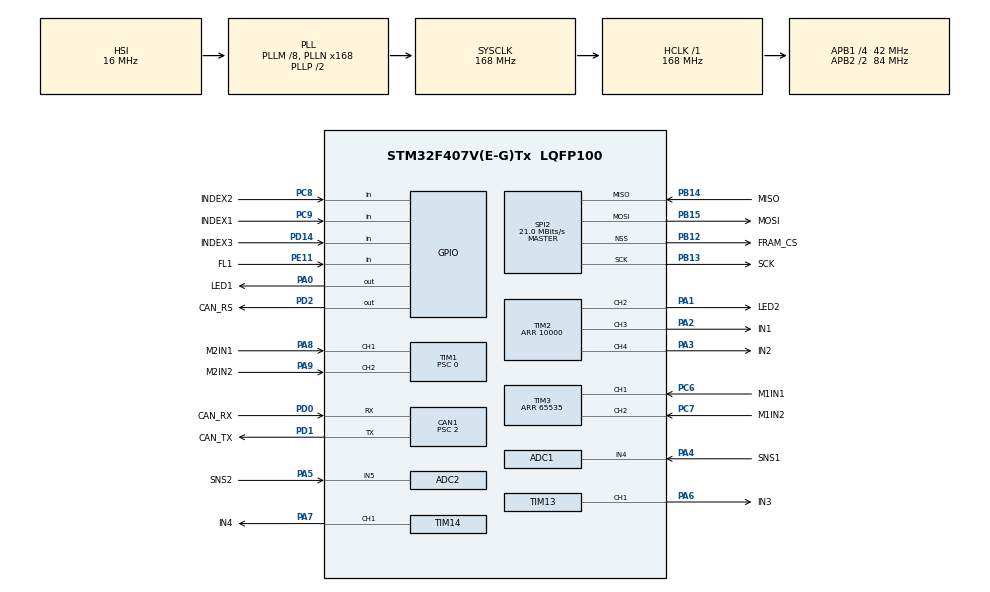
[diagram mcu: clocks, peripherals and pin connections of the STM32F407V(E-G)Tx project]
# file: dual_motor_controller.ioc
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ADC1.Channel-0\#ChannelRegularConversion=ADC_CHANNEL_4
ADC1.ClockPrescaler=ADC_CLOCK_SYNC_PCLK_DIV8
ADC1.ContinuousConvMode=ENABLE
ADC1.EOCSelection=ADC_EOC_SEQ_CONV
ADC1.NbrOfConversionFlag=1
ADC1.Rank-0\#ChannelRegularConversion=1
ADC1.SamplingTime-0\#ChannelRegularConversion=ADC_SAMPLETIME_3CYCLES
ADC1.ScanConvMode=ENABLE
ADC1.master=1
ADC2.Channel-1\#ChannelRegularConversion=ADC_CHANNEL_5
ADC2.ClockPrescaler=ADC_CLOCK_SYNC_PCLK_DIV8
ADC2.ContinuousConvMode=ENABLE
ADC2.EOCSelection=ADC_EOC_SEQ_CONV
ADC2.NbrOfConversionFlag=1
ADC2.Rank-1\#ChannelRegularConversion=1
ADC2.SamplingTime-1\#ChannelRegularConversion=ADC_SAMPLETIME_3CYCLES
CAN1.BS1=CAN_BS1_13TQ
CAN1.BS2=CAN_BS2_7TQ
CAN1.CalculateTimeQuantum=47.61904761904762
CAN1.Mode=CAN_MODE_NORMAL
CAN1.Prescaler=2
FREERTOS.INCLUDE_vTaskDelayUntil=1
FREERTOS.Tasks01=canbus_task,0,1024,start_canbus_task,Default,NULL,Dynamic,NULL,NULL;motor_task,2,2048,start_motor_task,Default,NULL,Dynamic,NULL,NULL
FREERTOS.configENABLE_FPU=1
FREERTOS.configMINIMAL_STACK_SIZE=256
FREERTOS.configTOTAL_HEAP_SIZE=50000
FREERTOS.configUSE_TIMERS=1
Mcu.Family=STM32F4
Mcu.Name=STM32F407V(E-G)Tx
Mcu.Package=LQFP100
Mcu.UserConstants=configUSE_QUEUE_SETS,1;USE_HAL_CAN_REGISTER_CALLBACKS,1
NVIC.ADC_IRQn=true\:5\:0\:false\:false\:true\:true\:true\:true
NVIC.CAN1_RX0_IRQn=true\:5\:0\:false\:false\:true\:true\:true\:true
NVIC.CAN1_RX1_IRQn=true\:5\:0\:false\:false\:true\:true\:true\:true
NVIC.CAN1_TX_IRQn=true\:5\:0\:false\:false\:true\:true\:true\:true
NVIC.PriorityGroup=NVIC_PRIORITYGROUP_4
NVIC.SPI2_IRQn=true\:5\:0\:false\:false\:true\:true\:true\:true
NVIC.TIM1_BRK_TIM9_IRQn=true\:5\:0\:false\:false\:true\:true\:true\:true
NVIC.TIM4_IRQn=true\:5\:0\:false\:false\:true\:true\:true\:true
NVIC.TIM8_UP_TIM13_IRQn=true\:0\:0\:false\:false\:true\:false\:false\:true
NVIC.TimeBase=TIM8_UP_TIM13_IRQn
NVIC.TimeBaseIP=TIM8
PA0-WKUP.GPIO_Label=LED1
PA0-WKUP.GPIO_Speed=GPIO_SPEED_FREQ_HIGH
PA0-WKUP.Signal=GPIO_Output
PA1.GPIO_Label=LED2
PA1.Signal=S_TIM2_CH2
PA13.Signal=SYS_JTMS-SWDIO
PA14.Signal=SYS_JTCK-SWCLK
PA2.GPIO_Label=IN1
PA2.Signal=S_TIM2_CH3
PA3.GPIO_Label=IN2
PA3.Signal=S_TIM2_CH4
PA4.GPIO_Label=SNS1
PA4.Signal=ADCx_IN4
PA5.GPIO_Label=SNS2
PA5.Signal=ADCx_IN5
PA6.GPIO_Label=IN3
PA6.Signal=S_TIM13_CH1
PA7.GPIO_Label=IN4
PA7.Signal=S_TIM14_CH1
PA8.GPIO_Label=M2IN1
PA8.GPIO_ModeDefaultPP=GPIO_MODE_AF_OD
PA8.GPIO_PuPd=GPIO_PULLUP
PA8.Signal=S_TIM1_CH1
PA9.GPIO_Label=M2IN2
PA9.GPIO_ModeDefaultPP=GPIO_MODE_AF_OD
PA9.GPIO_PuPd=GPIO_PULLUP
PA9.Signal=S_TIM1_CH2
PB12.GPIO_Label=FRAM_CS
PB12.Mode=NSS_Signal_Hard_Output
PB12.Signal=SPI2_NSS
PB13.GPIO_Label=SCK
PB13.Mode=Full_Duplex_Master
PB13.Signal=SPI2_SCK
PB14.GPIO_Label=MISO
PB14.Mode=Full_Duplex_Master
PB14.Signal=SPI2_MISO
PB15.GPIO_Label=MOSI
PB15.Mode=Full_Duplex_Master
PB15.Signal=SPI2_MOSI
PC6.GPIO_Label=M1IN1
PC6.GPIO_ModeDefaultPP=GPIO_MODE_AF_OD
PC6.GPIO_PuPd=GPIO_PULLUP
PC6.Signal=S_TIM3_CH1
PC7.GPIO_Label=M1IN2
PC7.GPIO_ModeDefaultPP=GPIO_MODE_AF_OD
PC7.GPIO_PuPd=GPIO_PULLUP
PC7.Signal=S_TIM3_CH2
PC8.GPIO_Label=INDEX2
PC8.GPIO_PuPd=GPIO_PULLUP
PC8.Signal=GPIO_Input
PC9.GPIO_Label=INDEX1
PC9.GPIO_PuPd=GPIO_PULLUP
PC9.Signal=GPIO_Input
PD0.GPIO_Label=CAN_RX
PD0.Mode=Master
PD0.Signal=CAN1_RX
PD1.GPIO_Label=CAN_TX
PD1.Mode=Master
PD1.Signal=CAN1_TX
PD14.GPIO_Label=INDEX3
PD14.GPIO_PuPd=GPIO_PULLUP
PD14.Signal=GPIO_Input
PD2.GPIO_Label=CAN_RS
PD2.Signal=GPIO_Output
PE11.GPIO_Label=FL1
PE11.GPIO_PuPd=GPIO_PULLUP
PE11.Signal=GPIO_Input
ProjectManager.HeapSize=0x200
ProjectManager.StackSize=0x400
ProjectManager.TargetToolchain=STM32CubeIDE
RCC.48MHZClocksFreq_Value=84000000
RCC.AHBFreq_Value=168000000
RCC.APB1CLKDivider=RCC_HCLK_DIV4
RCC.APB1Freq_Value=42000000
RCC.APB1TimFreq_Value=84000000
RCC.APB2CLKDivider=RCC_HCLK_DIV2
RCC.APB2Freq_Value=84000000
RCC.APB2TimFreq_Value=168000000
RCC.CortexFreq_Value=168000000
RCC.HCLKFreq_Value=168000000
RCC.HSE_VALUE=25000000
RCC.HSI_VALUE=16000000
RCC.LSE_VALUE=32768
RCC.PLLM=8
RCC.PLLN=168
RCC.SYSCLKFreq_VALUE=168000000
RCC.SYSCLKSource=RCC_SYSCLKSOURCE_PLLCLK
RCC.VCOOutputFreq_Value=336000000
SH.ADCx_IN4.0=ADC1_IN4,IN4
SH.ADCx_IN5.0=ADC2_IN5,IN5
SH.S_TIM13_CH1.0=TIM13_CH1,PWM Generation1 CH1
SH.S_TIM14_CH1.0=TIM14_CH1,PWM Generation1 CH1
SH.S_TIM1_CH1.0=TIM1_CH1,Encoder_Interface
SH.S_TIM1_CH2.0=TIM1_CH2,Encoder_Interface
SH.S_TIM2_CH2.0=TIM2_CH2,PWM Generation2 CH2
SH.S_TIM2_CH3.0=TIM2_CH3,PWM Generation3 CH3
SH.S_TIM2_CH4.0=TIM2_CH4,PWM Generation4 CH4
SH.S_TIM3_CH1.0=TIM3_CH1,Encoder_Interface
SH.S_TIM3_CH2.0=TIM3_CH2,Encoder_Interface
SPI2.BaudRatePrescaler=SPI_BAUDRATEPRESCALER_2
SPI2.CalculateBaudRate=21.0 MBits/s
SPI2.Direction=SPI_DIRECTION_2LINES
SPI2.Mode=SPI_MODE_MASTER
SPI2.VirtualNSS=VM_NSSHARD
SPI2.VirtualType=VM_MASTER
TIM1.EncoderMode=TIM_ENCODERMODE_TI12
TIM1.Period=65535
TIM1.Prescaler=0
TIM1.TIM_MasterOutputTrigger=TIM_TRGO_RESET
TIM1.TIM_MasterSlaveMode=TIM_MASTERSLAVEMODE_ENABLE
TIM13.Channel=TIM_CHANNEL_1
TIM13.Period=10000
TIM14.Channel=TIM_CHANNEL_1
TIM14.Period=10000
TIM2.Channel-PWM\ Generation2\ CH2=TIM_CHANNEL_2
TIM2.Channel-PWM\ Generation3\ CH3=TIM_CHANNEL_3
TIM2.Channel-PWM\ Generation4\ CH4=TIM_CHANNEL_4
TIM2.Period=10000
TIM3.EncoderMode=TIM_ENCODERMODE_TI12
TIM3.Period=65535
TIM4.Channel-Output\ Compare1\ No\ Output=TIM_CHANNEL_1
TIM4.Period=500
TIM4.Prescaler=42-1
TIM9.Channel-Output\ Compare1\ No\ Output=TIM_CHANNEL_1
TIM9.Period=50
TIM9.Prescaler=168-1
VP_FREERTOS_VS_CMSIS_V1.Mode=CMSIS_V1
VP_SYS_VS_tim8.Mode=TIM8
VP_TIM13_VS_ClockSourceINT.Mode=Enable_Timer
VP_TIM14_VS_ClockSourceINT.Mode=Enable_Timer
VP_TIM2_VS_ClockSourceINT.Mode=Internal
VP_TIM4_VS_ClockSourceINT.Mode=Internal
VP_TIM4_VS_no_output1.Mode=Output Compare1 No Output
VP_TIM9_VS_no_output1.Mode=Output Compare1 No Output
board=custom

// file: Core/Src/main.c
/* USER CODE BEGIN Header */
/**
  ******************************************************************************
  * @file           : main.c
  * @brief          : Main program body
  ******************************************************************************
  * @attention
  *
  * <h2><center>&copy; Copyright (c) 2021 STMicroelectronics.
  * All rights reserved.</center></h2>
  *
  * This software component is licensed by ST under BSD 3-Clause license,
  * the "License"; You may not use this file except in compliance with the
  * License. You may obtain a copy of the License at:
  *                        opensource.org/licenses/BSD-3-Clause
  *
  ******************************************************************************
  */
/* USER CODE END Header */

#include "main.h"
#include "cmsis_os.h"

/* USER CODE BEGIN Includes */
#include <stdint.h>
#include "canbus_task.h"
#include "motor_task.h"
#include "adc_interface.h"
#include "arm_math.h"
/* USER CODE END Includes */

ADC_HandleTypeDef hadc1;
ADC_HandleTypeDef hadc2;

CAN_HandleTypeDef hcan1;

SPI_HandleTypeDef hspi2;

TIM_HandleTypeDef htim1;
TIM_HandleTypeDef htim2;
TIM_HandleTypeDef htim3;
TIM_HandleTypeDef htim4;
TIM_HandleTypeDef htim9;
TIM_HandleTypeDef htim13;
TIM_HandleTypeDef htim14;

osThreadId canbus_taskHandle;
osThreadId motor_taskHandle;

void SystemClock_Config(void);
static void MX_GPIO_Init(void);
static void MX_ADC1_Init(void);
static void MX_CAN1_Init(void);
static void MX_SPI2_Init(void);
static void MX_TIM1_Init(void);
static void MX_TIM2_Init(void);
static void MX_TIM3_Init(void);
static void MX_TIM13_Init(void);
static void MX_TIM14_Init(void);
static void MX_ADC2_Init(void);
static void MX_TIM4_Init(void);
static void MX_TIM9_Init(void);
void start_canbus_task(void const * argument);
void start_motor_task(void const * argument);

/* USER CODE BEGIN 0 */

void enable_motor_task_from_isr(void)
{
	if(motor_taskHandle)
	{
		BaseType_t xHigherPriorityTaskWoken = pdFALSE;
		vTaskNotifyGiveFromISR( motor_taskHandle, &xHigherPriorityTaskWoken);
		portYIELD_FROM_ISR( xHigherPriorityTaskWoken );
	}
}

/* USER CODE END 0 */

int main(void)
{

  /* MCU Configuration--------------------------------------------------------*/

  /* Reset of all peripherals, Initializes the Flash interface and the Systick. */
  HAL_Init();

  /* Configure the system clock */
  SystemClock_Config();

  /* Initialize all configured peripherals */
  MX_GPIO_Init();
  MX_ADC1_Init();
  MX_CAN1_Init();
  MX_SPI2_Init();
  MX_TIM1_Init();
  MX_TIM2_Init();
  MX_TIM3_Init();
  MX_TIM13_Init();
  MX_TIM14_Init();
  MX_ADC2_Init();
  MX_TIM4_Init();
  MX_TIM9_Init();
  /* USER CODE BEGIN 2 */
  adc_interface_init(hadc1, hadc2);
  /* USER CODE END 2 */

  /* Create the thread(s) */
  /* definition and creation of canbus_task */
  osThreadDef(canbus_task, start_canbus_task, osPriorityNormal, 0, 1024);
  canbus_taskHandle = osThreadCreate(osThread(canbus_task), NULL);

  /* definition and creation of motor_task */
  osThreadDef(motor_task, start_motor_task, osPriorityHigh, 0, 2048);
  motor_taskHandle = osThreadCreate(osThread(motor_task), NULL);

  /* Start scheduler */
  osKernelStart();

  /* We should never get here as control is now taken by the scheduler */
  /* Infinite loop */
  while (1)
  {

  }
}

void SystemClock_Config(void)
{
  RCC_OscInitTypeDef RCC_OscInitStruct = {0};
  RCC_ClkInitTypeDef RCC_ClkInitStruct = {0};

  /** Configure the main internal regulator output voltage
  */
  __HAL_RCC_PWR_CLK_ENABLE();
  __HAL_PWR_VOLTAGESCALING_CONFIG(PWR_REGULATOR_VOLTAGE_SCALE1);
  /** Initializes the CPU, AHB and APB busses clocks
  */
  RCC_OscInitStruct.OscillatorType = RCC_OSCILLATORTYPE_HSI;
  RCC_OscInitStruct.HSIState = RCC_HSI_ON;
  RCC_OscInitStruct.HSICalibrationValue = RCC_HSICALIBRATION_DEFAULT;
  RCC_OscInitStruct.PLL.PLLState = RCC_PLL_ON;
  RCC_OscInitStruct.PLL.PLLSource = RCC_PLLSOURCE_HSI;
  RCC_OscInitStruct.PLL.PLLM = 8;
  RCC_OscInitStruct.PLL.PLLN = 168;
  RCC_OscInitStruct.PLL.PLLP = RCC_PLLP_DIV2;
  RCC_OscInitStruct.PLL.PLLQ = 4;
  if (HAL_RCC_OscConfig(&RCC_OscInitStruct) != HAL_OK)
  {
    Error_Handler();
  }
  /** Initializes the CPU, AHB and APB busses clocks
  */
  RCC_ClkInitStruct.ClockType = RCC_CLOCKTYPE_HCLK|RCC_CLOCKTYPE_SYSCLK
                              |RCC_CLOCKTYPE_PCLK1|RCC_CLOCKTYPE_PCLK2;
  RCC_ClkInitStruct.SYSCLKSource = RCC_SYSCLKSOURCE_PLLCLK;
  RCC_ClkInitStruct.AHBCLKDivider = RCC_SYSCLK_DIV1;
  RCC_ClkInitStruct.APB1CLKDivider = RCC_HCLK_DIV4;
  RCC_ClkInitStruct.APB2CLKDivider = RCC_HCLK_DIV2;

  if (HAL_RCC_ClockConfig(&RCC_ClkInitStruct, FLASH_LATENCY_5) != HAL_OK)
  {
    Error_Handler();
  }
}

static void MX_ADC1_Init(void)
{

  ADC_ChannelConfTypeDef sConfig = {0};

  /** Configure the global features of the ADC (Clock, Resolution, Data Alignment and number of conversion)
  */
  hadc1.Instance = ADC1;
  hadc1.Init.ClockPrescaler = ADC_CLOCK_SYNC_PCLK_DIV8;
  hadc1.Init.Resolution = ADC_RESOLUTION_12B;
  hadc1.Init.ScanConvMode = ENABLE;
  hadc1.Init.ContinuousConvMode = ENABLE;
  hadc1.Init.DiscontinuousConvMode = DISABLE;
  hadc1.Init.ExternalTrigConvEdge = ADC_EXTERNALTRIGCONVEDGE_NONE;
  hadc1.Init.ExternalTrigConv = ADC_SOFTWARE_START;
  hadc1.Init.DataAlign = ADC_DATAALIGN_RIGHT;
  hadc1.Init.NbrOfConversion = 1;
  hadc1.Init.DMAContinuousRequests = DISABLE;
  hadc1.Init.EOCSelection = ADC_EOC_SEQ_CONV;
  if (HAL_ADC_Init(&hadc1) != HAL_OK)
  {
    Error_Handler();
  }
  /** Configure for the selected ADC regular channel its corresponding rank in the sequencer and its sample time.
  */
  sConfig.Channel = ADC_CHANNEL_4;
  sConfig.Rank = 1;
  sConfig.SamplingTime = ADC_SAMPLETIME_3CYCLES;
  if (HAL_ADC_ConfigChannel(&hadc1, &sConfig) != HAL_OK)
  {
    Error_Handler();
  }

}

static void MX_ADC2_Init(void)
{

  ADC_ChannelConfTypeDef sConfig = {0};

  /** Configure the global features of the ADC (Clock, Resolution, Data Alignment and number of conversion)
  */
  hadc2.Instance = ADC2;
  hadc2.Init.ClockPrescaler = ADC_CLOCK_SYNC_PCLK_DIV8;
  hadc2.Init.Resolution = ADC_RESOLUTION_12B;
  hadc2.Init.ScanConvMode = DISABLE;
  hadc2.Init.ContinuousConvMode = ENABLE;
  hadc2.Init.DiscontinuousConvMode = DISABLE;
  hadc2.Init.ExternalTrigConvEdge = ADC_EXTERNALTRIGCONVEDGE_NONE;
  hadc2.Init.ExternalTrigConv = ADC_SOFTWARE_START;
  hadc2.Init.DataAlign = ADC_DATAALIGN_RIGHT;
  hadc2.Init.NbrOfConversion = 1;
  hadc2.Init.DMAContinuousRequests = DISABLE;
  hadc2.Init.EOCSelection = ADC_EOC_SEQ_CONV;
  if (HAL_ADC_Init(&hadc2) != HAL_OK)
  {
    Error_Handler();
  }
  /** Configure for the selected ADC regular channel its corresponding rank in the sequencer and its sample time.
  */
  sConfig.Channel = ADC_CHANNEL_5;
  sConfig.Rank = 1;
  sConfig.SamplingTime = ADC_SAMPLETIME_3CYCLES;
  if (HAL_ADC_ConfigChannel(&hadc2, &sConfig) != HAL_OK)
  {
    Error_Handler();
  }

}

static void MX_CAN1_Init(void)
{

  hcan1.Instance = CAN1;
  hcan1.Init.Prescaler = 2;
  hcan1.Init.Mode = CAN_MODE_NORMAL;
  hcan1.Init.SyncJumpWidth = CAN_SJW_1TQ;
  hcan1.Init.TimeSeg1 = CAN_BS1_13TQ;
  hcan1.Init.TimeSeg2 = CAN_BS2_7TQ;
  hcan1.Init.TimeTriggeredMode = DISABLE;
  hcan1.Init.AutoBusOff = DISABLE;
  hcan1.Init.AutoWakeUp = DISABLE;
  hcan1.Init.AutoRetransmission = DISABLE;
  hcan1.Init.ReceiveFifoLocked = DISABLE;
  hcan1.Init.TransmitFifoPriority = DISABLE;
  if (HAL_CAN_Init(&hcan1) != HAL_OK)
  {
    Error_Handler();
  }

}

static void MX_SPI2_Init(void)
{

  /* SPI2 parameter configuration*/
  hspi2.Instance = SPI2;
  hspi2.Init.Mode = SPI_MODE_MASTER;
  hspi2.Init.Direction = SPI_DIRECTION_2LINES;
  hspi2.Init.DataSize = SPI_DATASIZE_8BIT;
  hspi2.Init.CLKPolarity = SPI_POLARITY_LOW;
  hspi2.Init.CLKPhase = SPI_PHASE_1EDGE;
  hspi2.Init.NSS = SPI_NSS_HARD_OUTPUT;
  hspi2.Init.BaudRatePrescaler = SPI_BAUDRATEPRESCALER_2;
  hspi2.Init.FirstBit = SPI_FIRSTBIT_MSB;
  hspi2.Init.TIMode = SPI_TIMODE_DISABLE;
  hspi2.Init.CRCCalculation = SPI_CRCCALCULATION_DISABLE;
  hspi2.Init.CRCPolynomial = 10;
  if (HAL_SPI_Init(&hspi2) != HAL_OK)
  {
    Error_Handler();
  }

}

static void MX_TIM1_Init(void)
{

  TIM_Encoder_InitTypeDef sConfig = {0};
  TIM_MasterConfigTypeDef sMasterConfig = {0};

  htim1.Instance = TIM1;
  htim1.Init.Prescaler = 0;
  htim1.Init.CounterMode = TIM_COUNTERMODE_UP;
  htim1.Init.Period = 65535;
  htim1.Init.ClockDivision = TIM_CLOCKDIVISION_DIV1;
  htim1.Init.RepetitionCounter = 0;
  htim1.Init.AutoReloadPreload = TIM_AUTORELOAD_PRELOAD_DISABLE;
  sConfig.EncoderMode = TIM_ENCODERMODE_TI12;
  sConfig.IC1Polarity = TIM_ICPOLARITY_RISING;
  sConfig.IC1Selection = TIM_ICSELECTION_DIRECTTI;
  sConfig.IC1Prescaler = TIM_ICPSC_DIV1;
  sConfig.IC1Filter = 0;
  sConfig.IC2Polarity = TIM_ICPOLARITY_RISING;
  sConfig.IC2Selection = TIM_ICSELECTION_DIRECTTI;
  sConfig.IC2Prescaler = TIM_ICPSC_DIV1;
  sConfig.IC2Filter = 0;
  if (HAL_TIM_Encoder_Init(&htim1, &sConfig) != HAL_OK)
  {
    Error_Handler();
  }
  sMasterConfig.MasterOutputTrigger = TIM_TRGO_RESET;
  sMasterConfig.MasterSlaveMode = TIM_MASTERSLAVEMODE_ENABLE;
  if (HAL_TIMEx_MasterConfigSynchronization(&htim1, &sMasterConfig) != HAL_OK)
  {
    Error_Handler();
  }

}

static void MX_TIM2_Init(void)
{

  TIM_ClockConfigTypeDef sClockSourceConfig = {0};
  TIM_MasterConfigTypeDef sMasterConfig = {0};
  TIM_OC_InitTypeDef sConfigOC = {0};

  htim2.Instance = TIM2;
  htim2.Init.Prescaler = 0;
  htim2.Init.CounterMode = TIM_COUNTERMODE_UP;
  htim2.Init.Period = 10000;
  htim2.Init.ClockDivision = TIM_CLOCKDIVISION_DIV1;
  htim2.Init.AutoReloadPreload = TIM_AUTORELOAD_PRELOAD_DISABLE;
  if (HAL_TIM_Base_Init(&htim2) != HAL_OK)
  {
    Error_Handler();
  }
  sClockSourceConfig.ClockSource = TIM_CLOCKSOURCE_INTERNAL;
  if (HAL_TIM_ConfigClockSource(&htim2, &sClockSourceConfig) != HAL_OK)
  {
    Error_Handler();
  }
  if (HAL_TIM_PWM_Init(&htim2) != HAL_OK)
  {
    Error_Handler();
  }
  sMasterConfig.MasterOutputTrigger = TIM_TRGO_RESET;
  sMasterConfig.MasterSlaveMode = TIM_MASTERSLAVEMODE_DISABLE;
  if (HAL_TIMEx_MasterConfigSynchronization(&htim2, &sMasterConfig) != HAL_OK)
  {
    Error_Handler();
  }
  sConfigOC.OCMode = TIM_OCMODE_PWM1;
  sConfigOC.Pulse = 0;
  sConfigOC.OCPolarity = TIM_OCPOLARITY_HIGH;
  sConfigOC.OCFastMode = TIM_OCFAST_DISABLE;
  if (HAL_TIM_PWM_ConfigChannel(&htim2, &sConfigOC, TIM_CHANNEL_2) != HAL_OK)
  {
    Error_Handler();
  }
  if (HAL_TIM_PWM_ConfigChannel(&htim2, &sConfigOC, TIM_CHANNEL_3) != HAL_OK)
  {
    Error_Handler();
  }
  if (HAL_TIM_PWM_ConfigChannel(&htim2, &sConfigOC, TIM_CHANNEL_4) != HAL_OK)
  {
    Error_Handler();
  }
  HAL_TIM_MspPostInit(&htim2);

}

static void MX_TIM3_Init(void)
{

  TIM_Encoder_InitTypeDef sConfig = {0};
  TIM_MasterConfigTypeDef sMasterConfig = {0};

  htim3.Instance = TIM3;
  htim3.Init.Prescaler = 0;
  htim3.Init.CounterMode = TIM_COUNTERMODE_UP;
  htim3.Init.Period = 65535;
  htim3.Init.ClockDivision = TIM_CLOCKDIVISION_DIV1;
  htim3.Init.AutoReloadPreload = TIM_AUTORELOAD_PRELOAD_DISABLE;
  sConfig.EncoderMode = TIM_ENCODERMODE_TI12;
  sConfig.IC1Polarity = TIM_ICPOLARITY_RISING;
  sConfig.IC1Selection = TIM_ICSELECTION_DIRECTTI;
  sConfig.IC1Prescaler = TIM_ICPSC_DIV1;
  sConfig.IC1Filter = 0;
  sConfig.IC2Polarity = TIM_ICPOLARITY_RISING;
  sConfig.IC2Selection = TIM_ICSELECTION_DIRECTTI;
  sConfig.IC2Prescaler = TIM_ICPSC_DIV1;
  sConfig.IC2Filter = 0;
  if (HAL_TIM_Encoder_Init(&htim3, &sConfig) != HAL_OK)
  {
    Error_Handler();
  }
  sMasterConfig.MasterOutputTrigger = TIM_TRGO_RESET;
  sMasterConfig.MasterSlaveMode = TIM_MASTERSLAVEMODE_DISABLE;
  if (HAL_TIMEx_MasterConfigSynchronization(&htim3, &sMasterConfig) != HAL_OK)
  {
    Error_Handler();
  }

}

static void MX_TIM4_Init(void)
{

  TIM_ClockConfigTypeDef sClockSourceConfig = {0};
  TIM_MasterConfigTypeDef sMasterConfig = {0};
  TIM_OC_InitTypeDef sConfigOC = {0};

  htim4.Instance = TIM4;
  htim4.Init.Prescaler = 42-1;
  htim4.Init.CounterMode = TIM_COUNTERMODE_UP;
  htim4.Init.Period = 500;
  htim4.Init.ClockDivision = TIM_CLOCKDIVISION_DIV1;
  htim4.Init.AutoReloadPreload = TIM_AUTORELOAD_PRELOAD_DISABLE;
  if (HAL_TIM_Base_Init(&htim4) != HAL_OK)
  {
    Error_Handler();
  }
  sClockSourceConfig.ClockSource = TIM_CLOCKSOURCE_INTERNAL;
  if (HAL_TIM_ConfigClockSource(&htim4, &sClockSourceConfig) != HAL_OK)
  {
    Error_Handler();
  }
  if (HAL_TIM_OC_Init(&htim4) != HAL_OK)
  {
    Error_Handler();
  }
  sMasterConfig.MasterOutputTrigger = TIM_TRGO_RESET;
  sMasterConfig.MasterSlaveMode = TIM_MASTERSLAVEMODE_DISABLE;
  if (HAL_TIMEx_MasterConfigSynchronization(&htim4, &sMasterConfig) != HAL_OK)
  {
    Error_Handler();
  }
  sConfigOC.OCMode = TIM_OCMODE_TIMING;
  sConfigOC.Pulse = 0;
  sConfigOC.OCPolarity = TIM_OCPOLARITY_HIGH;
  sConfigOC.OCFastMode = TIM_OCFAST_DISABLE;
  if (HAL_TIM_OC_ConfigChannel(&htim4, &sConfigOC, TIM_CHANNEL_1) != HAL_OK)
  {
    Error_Handler();
  }

}

static void MX_TIM9_Init(void)
{

  TIM_OC_InitTypeDef sConfigOC = {0};

  htim9.Instance = TIM9;
  htim9.Init.Prescaler = 168-1;
  htim9.Init.CounterMode = TIM_COUNTERMODE_UP;
  htim9.Init.Period = 50;
  htim9.Init.ClockDivision = TIM_CLOCKDIVISION_DIV1;
  htim9.Init.AutoReloadPreload = TIM_AUTORELOAD_PRELOAD_DISABLE;
  if (HAL_TIM_OC_Init(&htim9) != HAL_OK)
  {
    Error_Handler();
  }
  sConfigOC.OCMode = TIM_OCMODE_TIMING;
  sConfigOC.Pulse = 0;
  sConfigOC.OCPolarity = TIM_OCPOLARITY_HIGH;
  sConfigOC.OCFastMode = TIM_OCFAST_DISABLE;
  if (HAL_TIM_OC_ConfigChannel(&htim9, &sConfigOC, TIM_CHANNEL_1) != HAL_OK)
  {
    Error_Handler();
  }

}

static void MX_TIM13_Init(void)
{

  TIM_OC_InitTypeDef sConfigOC = {0};

  htim13.Instance = TIM13;
  htim13.Init.Prescaler = 0;
  htim13.Init.CounterMode = TIM_COUNTERMODE_UP;
  htim13.Init.Period = 10000;
  htim13.Init.ClockDivision = TIM_CLOCKDIVISION_DIV1;
  htim13.Init.AutoReloadPreload = TIM_AUTORELOAD_PRELOAD_DISABLE;
  if (HAL_TIM_Base_Init(&htim13) != HAL_OK)
  {
    Error_Handler();
  }
  if (HAL_TIM_PWM_Init(&htim13) != HAL_OK)
  {
    Error_Handler();
  }
  sConfigOC.OCMode = TIM_OCMODE_PWM1;
  sConfigOC.Pulse = 0;
  sConfigOC.OCPolarity = TIM_OCPOLARITY_HIGH;
  sConfigOC.OCFastMode = TIM_OCFAST_DISABLE;
  if (HAL_TIM_PWM_ConfigChannel(&htim13, &sConfigOC, TIM_CHANNEL_1) != HAL_OK)
  {
    Error_Handler();
  }
  HAL_TIM_MspPostInit(&htim13);

}

static void MX_TIM14_Init(void)
{

  TIM_OC_InitTypeDef sConfigOC = {0};

  htim14.Instance = TIM14;
  htim14.Init.Prescaler = 0;
  htim14.Init.CounterMode = TIM_COUNTERMODE_UP;
  htim14.Init.Period = 10000;
  htim14.Init.ClockDivision = TIM_CLOCKDIVISION_DIV1;
  htim14.Init.AutoReloadPreload = TIM_AUTORELOAD_PRELOAD_DISABLE;
  if (HAL_TIM_Base_Init(&htim14) != HAL_OK)
  {
    Error_Handler();
  }
  if (HAL_TIM_PWM_Init(&htim14) != HAL_OK)
  {
    Error_Handler();
  }
  sConfigOC.OCMode = TIM_OCMODE_PWM1;
  sConfigOC.Pulse = 0;
  sConfigOC.OCPolarity = TIM_OCPOLARITY_HIGH;
  sConfigOC.OCFastMode = TIM_OCFAST_DISABLE;
  if (HAL_TIM_PWM_ConfigChannel(&htim14, &sConfigOC, TIM_CHANNEL_1) != HAL_OK)
  {
    Error_Handler();
  }
  HAL_TIM_MspPostInit(&htim14);

}

static void MX_GPIO_Init(void)
{
  GPIO_InitTypeDef GPIO_InitStruct = {0};

  /* GPIO Ports Clock Enable */
  __HAL_RCC_GPIOA_CLK_ENABLE();
  __HAL_RCC_GPIOE_CLK_ENABLE();
  __HAL_RCC_GPIOB_CLK_ENABLE();
  __HAL_RCC_GPIOD_CLK_ENABLE();
  __HAL_RCC_GPIOC_CLK_ENABLE();

  /*Configure GPIO pin Output Level */
  HAL_GPIO_WritePin(LED1_GPIO_Port, LED1_Pin, GPIO_PIN_RESET);

  /*Configure GPIO pin Output Level */
  HAL_GPIO_WritePin(CAN_RS_GPIO_Port, CAN_RS_Pin, GPIO_PIN_RESET);

  /*Configure GPIO pin : LED1_Pin */
  GPIO_InitStruct.Pin = LED1_Pin;
  GPIO_InitStruct.Mode = GPIO_MODE_OUTPUT_PP;
  GPIO_InitStruct.Pull = GPIO_NOPULL;
  GPIO_InitStruct.Speed = GPIO_SPEED_FREQ_HIGH;
  HAL_GPIO_Init(LED1_GPIO_Port, &GPIO_InitStruct);

  /*Configure GPIO pin : FL1_Pin */
  GPIO_InitStruct.Pin = FL1_Pin;
  GPIO_InitStruct.Mode = GPIO_MODE_INPUT;
  GPIO_InitStruct.Pull = GPIO_PULLUP;
  HAL_GPIO_Init(FL1_GPIO_Port, &GPIO_InitStruct);

  /*Configure GPIO pin : INDEX3_Pin */
  GPIO_InitStruct.Pin = INDEX3_Pin;
  GPIO_InitStruct.Mode = GPIO_MODE_INPUT;
  GPIO_InitStruct.Pull = GPIO_PULLUP;
  HAL_GPIO_Init(INDEX3_GPIO_Port, &GPIO_InitStruct);

  /*Configure GPIO pins : INDEX2_Pin INDEX1_Pin */
  GPIO_InitStruct.Pin = INDEX2_Pin|INDEX1_Pin;
  GPIO_InitStruct.Mode = GPIO_MODE_INPUT;
  GPIO_InitStruct.Pull = GPIO_PULLUP;
  HAL_GPIO_Init(GPIOC, &GPIO_InitStruct);

  /*Configure GPIO pin : CAN_RS_Pin */
  GPIO_InitStruct.Pin = CAN_RS_Pin;
  GPIO_InitStruct.Mode = GPIO_MODE_OUTPUT_PP;
  GPIO_InitStruct.Pull = GPIO_NOPULL;
  GPIO_InitStruct.Speed = GPIO_SPEED_FREQ_LOW;
  HAL_GPIO_Init(CAN_RS_GPIO_Port, &GPIO_InitStruct);

}

void start_canbus_task(void const * argument)
{
  /* USER CODE BEGIN 5 */
  /* Infinite loop */
  canbus_task_init(hcan1);
  for(;;)
  {
	  canbus_task();
  }
  /* USER CODE END 5 */
}

void start_motor_task(void const * argument)
{
  /* USER CODE BEGIN start_motor_task */
  motor_task_init();
  /* Infinite loop */
  for(;;)
  {
	  HAL_GPIO_WritePin(LED1_GPIO_Port, LED1_Pin, GPIO_PIN_SET);
	  motor_task();
	  HAL_GPIO_WritePin(LED1_GPIO_Port, LED1_Pin, GPIO_PIN_RESET);
	  ulTaskNotifyTake( pdTRUE, portMAX_DELAY);
  }
  /* USER CODE END start_motor_task */
}

 /**
  * @brief  Period elapsed callback in non blocking mode
  * @note   This function is called  when TIM8 interrupt took place, inside
  * HAL_TIM_IRQHandler(). It makes a direct call to HAL_IncTick() to increment
  * a global variable "uwTick" used as application time base.
  * @param  htim : TIM handle
  * @retval None
  */
void HAL_TIM_PeriodElapsedCallback(TIM_HandleTypeDef *htim)
{
  if (htim->Instance == TIM8) {
    HAL_IncTick();
  }
}

void Error_Handler(void)
{
}

/************************ (C) COPYRIGHT STMicroelectronics *****END OF FILE****/

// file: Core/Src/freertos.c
/* USER CODE BEGIN Header */
/**
  ******************************************************************************
  * File Name          : freertos.c
  * Description        : Code for freertos applications
  ******************************************************************************
  * @attention
  *
  * <h2><center>&copy; Copyright (c) 2021 STMicroelectronics.
  * All rights reserved.</center></h2>
  *
  * This software component is licensed by ST under Ultimate Liberty license
  * SLA0044, the "License"; You may not use this file except in compliance with
  * the License. You may obtain a copy of the License at:
  *                             www.st.com/SLA0044
  *
  ******************************************************************************
  */
/* USER CODE END Header */

#include "FreeRTOS.h"
#include "task.h"
#include "main.h"

/* GetIdleTaskMemory prototype (linked to static allocation support) */
void vApplicationGetIdleTaskMemory( StaticTask_t **ppxIdleTaskTCBBuffer, StackType_t **ppxIdleTaskStackBuffer, uint32_t *pulIdleTaskStackSize );

/* GetTimerTaskMemory prototype (linked to static allocation support) */
void vApplicationGetTimerTaskMemory( StaticTask_t **ppxTimerTaskTCBBuffer, StackType_t **ppxTimerTaskStackBuffer, uint32_t *pulTimerTaskStackSize );

/* USER CODE BEGIN GET_IDLE_TASK_MEMORY */
static StaticTask_t xIdleTaskTCBBuffer;
static StackType_t xIdleStack[configMINIMAL_STACK_SIZE];

void vApplicationGetIdleTaskMemory( StaticTask_t **ppxIdleTaskTCBBuffer, StackType_t **ppxIdleTaskStackBuffer, uint32_t *pulIdleTaskStackSize )
{
  *ppxIdleTaskTCBBuffer = &xIdleTaskTCBBuffer;
  *ppxIdleTaskStackBuffer = &xIdleStack[0];
  *pulIdleTaskStackSize = configMINIMAL_STACK_SIZE;
  /* place for user code */
}
/* USER CODE END GET_IDLE_TASK_MEMORY */

/* USER CODE BEGIN GET_TIMER_TASK_MEMORY */
static StaticTask_t xTimerTaskTCBBuffer;
static StackType_t xTimerStack[configTIMER_TASK_STACK_DEPTH];

void vApplicationGetTimerTaskMemory( StaticTask_t **ppxTimerTaskTCBBuffer, StackType_t **ppxTimerTaskStackBuffer, uint32_t *pulTimerTaskStackSize )
{
  *ppxTimerTaskTCBBuffer = &xTimerTaskTCBBuffer;
  *ppxTimerTaskStackBuffer = &xTimerStack[0];
  *pulTimerTaskStackSize = configTIMER_TASK_STACK_DEPTH;
  /* place for user code */
}
/* USER CODE END GET_TIMER_TASK_MEMORY */

/************************ (C) COPYRIGHT STMicroelectronics *****END OF FILE****/
